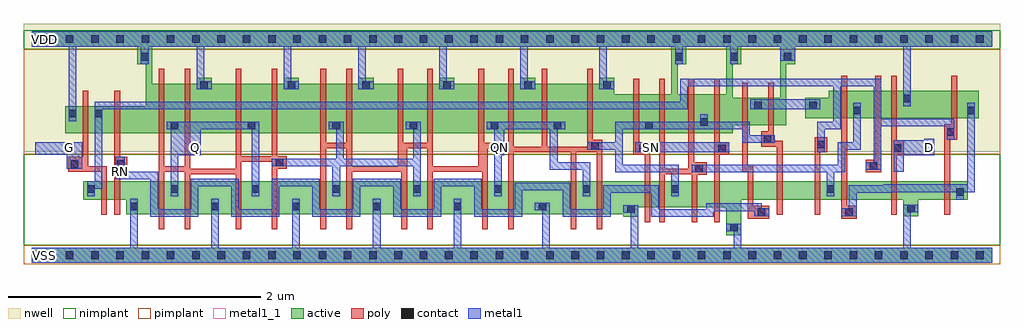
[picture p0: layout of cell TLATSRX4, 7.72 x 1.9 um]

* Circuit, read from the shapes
.subckt TLATSRX4 D G Q QN RN SN VDD VSS
M1 n1 G n2 VSS nfet w=0.145u l=0.045u
M2 VSS RN n1 VSS nfet w=0.145u l=0.045u
M3 Q n3 VSS VSS nfet w=0.26u l=0.045u m=4
M4 n3 n4 VSS VSS nfet w=0.26u l=0.045u m=4
M5 QN n4 VSS VSS nfet w=0.26u l=0.045u m=4
M6 n5 SN VSS VSS nfet w=0.205u l=0.045u
M7 n4 n6 n5 VSS nfet w=0.205u l=0.045u
M8 n7 n6 n4 VSS nfet w=0.205u l=0.045u
M9 VSS SN n7 VSS nfet w=0.205u l=0.045u
M10 n8 RN VSS VSS nfet w=0.145u l=0.045u
M11 n9 n4 n8 VSS nfet w=0.145u l=0.045u
M12 n6 n2 n9 VSS nfet w=0.145u l=0.045u
M13 n10 n11 n6 VSS nfet w=0.145u l=0.045u
M14 VSS D n10 VSS nfet w=0.145u l=0.045u
M15 n11 n2 VSS VSS nfet w=0.145u l=0.045u
M16 n2 G VDD VDD pfet w=0.215u l=0.045u
M17 VDD RN n2 VDD pfet w=0.215u l=0.045u
M18 Q n3 VDD VDD pfet w=0.39u l=0.045u m=4
M19 n3 n4 VDD VDD pfet w=0.39u l=0.045u m=4
M20 QN n4 VDD VDD pfet w=0.39u l=0.045u m=4
M21 n4 SN VDD VDD pfet w=0.31u l=0.045u m=2
M22 VDD n6 n4 VDD pfet w=0.31u l=0.045u m=2
M23 n12 RN VDD VDD pfet w=0.215u l=0.045u
M24 VDD n4 n12 VDD pfet w=0.215u l=0.045u
M25 n6 n11 n12 VDD pfet w=0.215u l=0.045u
M26 n13 n2 n6 VDD pfet w=0.215u l=0.045u
M27 VDD D n13 VDD pfet w=0.215u l=0.045u
M28 n11 n2 VDD VDD pfet w=0.215u l=0.045u
.ends

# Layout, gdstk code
import gdstk
lib = gdstk.Library(unit=1e-6, precision=5e-10)
def R(c, l, rs):  # rectangles x0, y0, x1, y1
    for r in rs: c.add(gdstk.rectangle(r[:2], r[2:], *l))
def A(c, l, x, y, w, h, nx, ny, dx, dy):  # array of equal rectangles
    R(c, l, [(x+i*dx, y+j*dy, x+i*dx+w, y+j*dy+h) for i in range(nx) for j in range(ny)])
def P(c, l, *ps):  # polygons
    for p in ps: c.add(gdstk.Polygon(p, *l))
active = (1, 0)
nwell = (2, 0)
poly = (3, 0)
nimplant = (4, 0)
pimplant = (5, 0)
contact = (6, 0)
metal1 = (7, 0)
metal1_1 = (7, 1)

tlatsrx4 = lib.new_cell('TLATSRX4')
R(tlatsrx4, active, [(0,-0.06,7.6,0.06)])
P(tlatsrx4, active, [(0,1.77),(7.6,1.77),(7.6,1.65),(6.04,1.65),(6.04,1.51),(5.97,1.51),(5.97,1.03),(5.545,1.03),(5.545,0.965),(0.265,0.965),(0.265,1.18),(0.905,1.18),(0.905,1.51),(0.835,1.51),(0.835,1.65),(0.955,1.65),(0.955,1.355),(1.305,1.355),(1.305,1.405),(1.425,1.405),(1.425,1.355),(1.995,1.355),(1.995,1.405),(2.115,1.405),(2.115,1.355),(2.585,1.355),(2.585,1.405),(2.705,1.405),(2.705,1.355),(3.225,1.355),(3.225,1.405),(3.345,1.405),(3.345,1.355),(3.865,1.355),(3.865,1.405),(3.985,1.405),(3.985,1.355),(4.49,1.355),(4.49,1.405),(4.61,1.405),(4.61,1.275),(5.06,1.275),(5.06,1.65),(5.18,1.65),(5.18,1.51),(5.11,1.51),(5.11,1.275),(5.495,1.275),(5.495,1.65),(5.615,1.65),(5.615,1.51),(5.545,1.51),(5.545,1.245),(5.92,1.245),(5.92,1.65),(0,1.65)],
  [(6.305,1.3),(7.49,1.3),(7.49,1.085),(6.12,1.085),(6.12,1.245),(6.305,1.245)],
  [(0.41,0.585),(7.405,0.585),(7.405,0.44),(7.015,0.44),(7.015,0.31),(6.895,0.31),(6.895,0.44),(5.615,0.44),(5.615,0.16),(5.495,0.16),(5.495,0.38),(4.8,0.38),(4.8,0.305),(4.68,0.305),(4.68,0.325),(0.75,0.325),(0.75,0.44),(0.41,0.44)])
R(tlatsrx4, nwell, [(-0.06,0.82,7.66,1.83)])
P(tlatsrx4, poly, [(1.005,1.475),(1.05,1.475),(1.05,0.705),(1.21,0.705),(1.21,1.475),(1.255,1.475),(1.255,0.685),(1.615,0.685),(1.615,1.475),(1.66,1.475),(1.66,0.785),(1.9,0.785),(1.9,1.475),(1.945,1.475),(1.945,0.785),(2.02,0.785),(2.02,0.685),(1.945,0.685),(1.945,0.205),(1.9,0.205),(1.9,0.74),(1.66,0.74),(1.66,0.205),(1.615,0.205),(1.615,0.64),(1.255,0.64),(1.255,0.205),(1.21,0.205),(1.21,0.66),(1.05,0.66),(1.05,0.205),(1.005,0.205)],
  [(0.405,1.3),(0.45,1.3),(0.45,0.705),(0.595,0.705),(0.595,0.32),(0.55,0.32),(0.55,0.66),(0.29,0.66),(0.29,0.78),(0.405,0.78)],
  [(0.655,1.3),(0.7,1.3),(0.7,0.78),(0.755,0.78),(0.755,0.66),(0.7,0.66),(0.7,0.32),(0.655,0.32)],
  [(2.285,1.475),(2.33,1.475),(2.33,0.89),(2.49,0.89),(2.49,1.475),(2.535,1.475),(2.535,0.705),(2.895,0.705),(2.895,1.475),(2.94,1.475),(2.94,0.89),(3.13,0.89),(3.13,1.475),(3.175,1.475),(3.175,0.705),(3.535,0.705),(3.535,1.475),(3.58,1.475),(3.58,0.89),(3.77,0.89),(3.77,1.475),(3.815,1.475),(3.815,0.86),(4.035,0.86),(4.035,1.475),(4.08,1.475),(4.08,0.86),(4.395,0.86),(4.395,1.475),(4.44,1.475),(4.44,0.915),(4.515,0.915),(4.515,0.205),(4.47,0.205),(4.47,0.815),(4.31,0.815),(4.31,0.205),(4.265,0.205),(4.265,0.815),(3.815,0.815),(3.815,0.205),(3.77,0.205),(3.77,0.845),(3.61,0.845),(3.61,0.205),(3.565,0.205),(3.565,0.66),(3.175,0.66),(3.175,0.205),(3.13,0.205),(3.13,0.845),(2.97,0.845),(2.97,0.205),(2.925,0.205),(2.925,0.66),(2.535,0.66),(2.535,0.205),(2.49,0.205),(2.49,0.845),(2.33,0.845),(2.33,0.205),(2.285,0.205)],
  [(4.76,1.395),(4.805,1.395),(4.805,0.895),(4.895,0.895),(4.895,0.26),(4.85,0.26),(4.85,0.795),(4.76,0.795)],
  [(4.965,1.395),(5.01,1.395),(5.01,0.685),(5.195,0.685),(5.195,1.395),(5.24,1.395),(5.24,0.735),(5.34,0.735),(5.34,0.635),(5.265,0.635),(5.265,0.26),(5.22,0.26),(5.22,0.64),(5.01,0.64),(5.01,0.26),(4.965,0.26)],
  [(5.4,1.395),(5.445,1.395),(5.445,0.895),(5.52,0.895),(5.52,0.795),(5.445,0.795),(5.445,0.26),(5.4,0.26)],
  [(5.62,1.365),(5.665,1.365),(5.665,0.705),(5.71,0.705),(5.71,0.39),(5.835,0.39),(5.835,0.29),(5.665,0.29),(5.665,0.66),(5.62,0.66)],
  [(5.825,1.365),(5.87,1.365),(5.87,0.905),(5.94,0.905),(5.94,0.32),(5.895,0.32),(5.895,0.86),(5.77,0.86),(5.77,0.98),(5.825,0.98)],
  [(6.405,1.42),(6.45,1.42),(6.45,0.39),(6.525,0.39),(6.525,0.29),(6.405,0.29)],
  [(6.675,1.42),(6.72,1.42),(6.72,0.655),(6.6,0.655),(6.6,0.755),(6.675,0.755)],
  [(6.8,1.42),(6.845,1.42),(6.845,0.91),(6.9,0.91),(6.9,0.79),(6.845,0.79),(6.845,0.32),(6.8,0.32)],
  [(7.275,1.42),(7.32,1.42),(7.32,0.915),(7.265,0.915),(7.265,0.32),(7.22,0.32),(7.22,1.035),(7.275,1.035)],
  [(6.195,0.935),(6.295,0.935),(6.295,0.815),(6.24,0.815),(6.24,0.32),(6.195,0.32)])
R(tlatsrx4, nimplant, [(-0.06,0.08,7.66,0.8), (-0.06,1.63,7.66,1.78)])
R(tlatsrx4, pimplant, [(-0.06,-0.07,7.66,0.08), (-0.06,0.8,7.66,1.63)])
A(tlatsrx4, contact, 0.07, -0.03, 0.06, 0.06, 38, 2, 0.2, 1.71)
A(tlatsrx4, contact, 0.78, 0.355, 0.06, 0.06, 5, 1, 0.64, 0)
A(tlatsrx4, contact, 1.1, 0.495, 0.06, 0.06, 5, 1, 0.64, 0)
A(tlatsrx4, contact, 2.615, 1.315, 0.06, 0.06, 3, 1, 0.64, 0)
R(tlatsrx4, contact, [(5.525,0.19,5.585,0.25), (5.745,0.31,5.805,0.37), (6.435,0.31,6.495,0.37), (4.71,0.335,4.77,0.395), (6.925,0.34,6.985,0.4), (4.01,0.355,4.07,0.415), (7.315,0.47,7.375,0.53), (0.44,0.495,0.5,0.555), (4.36,0.495,4.42,0.555), (5.06,0.495,5.12,0.555), (6.29,0.495,6.35,0.555), (5.25,0.655,5.31,0.715), (6.63,0.675,6.69,0.735), (0.31,0.69,0.37,0.75), (0.675,0.69,0.735,0.75), (1.93,0.705,1.99,0.765), (4.805,0.815,4.865,0.875), (5.43,0.815,5.49,0.875), (6.82,0.82,6.88,0.88), (4.425,0.835,4.485,0.895), (6.215,0.845,6.275,0.905), (5.79,0.89,5.85,0.95), (7.24,0.945,7.3,1.005), (1.1,0.995,1.16,1.055), (1.71,0.995,1.77,1.055), (2.38,0.995,2.44,1.055), (2.99,0.995,3.05,1.055), (3.63,0.995,3.69,1.055), (4.13,0.995,4.19,1.055), (4.855,0.995,4.915,1.055), (5.29,1.025,5.35,1.085), (0.295,1.09,0.355,1.15), (0.5,1.09,0.56,1.15), (6.5,1.115,6.56,1.175), (7.4,1.115,7.46,1.175), (5.715,1.155,5.775,1.215), (6.15,1.155,6.21,1.215), (6.895,1.21,6.955,1.27), (1.335,1.315,1.395,1.375), (2.025,1.315,2.085,1.375), (4.52,1.315,4.58,1.375), (0.865,1.54,0.925,1.6), (5.09,1.54,5.15,1.6), (5.525,1.54,5.585,1.6), (5.95,1.54,6.01,1.6)])
R(tlatsrx4, metal1, [(4.775,0.815,5.52,0.895), (5.685,1.155,6.24,1.235)])
P(tlatsrx4, metal1, [(0,1.77),(7.6,1.77),(7.6,1.65),(6.955,1.65),(6.955,1.18),(6.895,1.18),(6.895,1.65),(6.04,1.65),(6.04,1.54),(5.92,1.54),(5.92,1.65),(5.585,1.65),(5.585,1.51),(5.525,1.51),(5.525,1.65),(5.15,1.65),(5.15,1.51),(5.09,1.51),(5.09,1.65),(4.55,1.65),(4.55,1.375),(4.61,1.375),(4.61,1.315),(4.49,1.315),(4.49,1.65),(3.925,1.65),(3.925,1.375),(3.985,1.375),(3.985,1.315),(3.865,1.315),(3.865,1.65),(3.285,1.65),(3.285,1.375),(3.345,1.375),(3.345,1.315),(3.225,1.315),(3.225,1.65),(2.645,1.65),(2.645,1.375),(2.705,1.375),(2.705,1.315),(2.585,1.315),(2.585,1.65),(2.055,1.65),(2.055,1.375),(2.115,1.375),(2.115,1.315),(1.995,1.315),(1.995,1.65),(1.365,1.65),(1.365,1.375),(1.425,1.375),(1.425,1.315),(1.305,1.315),(1.305,1.65),(0.925,1.65),(0.925,1.51),(0.865,1.51),(0.865,1.65),(0.355,1.65),(0.355,1.06),(0.295,1.06),(0.295,1.65),(0,1.65)],
  [(5.13,1.395),(6.72,1.395),(6.72,1.08),(7.3,1.08),(7.3,0.915),(7.24,0.915),(7.24,1.02),(6.72,1.02),(6.72,0.675),(6.6,0.675),(6.6,0.735),(6.66,0.735),(6.66,1.335),(6.4,1.335),(6.4,0.995),(6.275,0.995),(6.275,0.815),(6.215,0.815),(6.215,1.055),(6.34,1.055),(6.34,1.335),(5.19,1.335),(5.19,1.155),(0.56,1.155),(0.56,0.525),(0.5,0.525),(0.5,0.465),(0.44,0.465),(0.44,0.585),(0.5,0.585),(0.5,1.215),(5.13,1.215)],
  [(5.29,1.115),(5.35,1.115),(5.35,1.055),(5.68,1.055),(5.68,0.95),(5.88,0.95),(5.88,0.89),(5.62,0.89),(5.62,0.995),(4.675,0.995),(4.675,0.715),(5.12,0.715),(5.12,0.465),(5.06,0.465),(5.06,0.655),(4.615,0.655),(4.615,0.835),(4.395,0.835),(4.395,0.895),(4.615,0.895),(4.615,1.055),(5.29,1.055)],
  [(0.03,0.895),(0.4,0.895),(0.4,0.685),(0.28,0.685),(0.28,0.795),(0.03,0.795)],
  [(1.07,1.055),(1.8,1.055),(1.8,0.465),(1.74,0.465),(1.74,0.995),(1.34,0.995),(1.34,0.79),(1.16,0.79),(1.16,0.465),(1.1,0.465),(1.1,0.995),(1.07,0.995)],
  [(2.35,1.055),(2.47,1.055),(2.47,0.765),(3.02,0.765),(3.02,0.995),(2.96,0.995),(2.96,1.055),(3.08,1.055),(3.08,0.465),(3.02,0.465),(3.02,0.705),(2.44,0.705),(2.44,0.465),(2.38,0.465),(2.38,0.705),(1.9,0.705),(1.9,0.765),(2.41,0.765),(2.41,0.995),(2.35,0.995)],
  [(3.6,1.055),(4.22,1.055),(4.22,0.995),(4.16,0.995),(4.16,0.735),(4.42,0.735),(4.42,0.465),(4.36,0.465),(4.36,0.675),(4.1,0.675),(4.1,0.995),(3.74,0.995),(3.74,0.79),(3.72,0.79),(3.72,0.465),(3.66,0.465),(3.66,0.995),(3.6,0.995)],
  [(0.66,0.78),(0.735,0.78),(0.735,0.73),(0.74,0.73),(0.74,0.66),(1,0.66),(1,0.365),(1.26,0.365),(1.26,0.605),(1.64,0.605),(1.64,0.365),(1.9,0.365),(1.9,0.605),(2.28,0.605),(2.28,0.365),(2.54,0.365),(2.54,0.605),(2.92,0.605),(2.92,0.365),(3.18,0.365),(3.18,0.605),(3.56,0.605),(3.56,0.365),(3.82,0.365),(3.82,0.575),(4.26,0.575),(4.26,0.365),(4.52,0.365),(4.52,0.555),(4.96,0.555),(4.96,0.365),(5.335,0.365),(5.335,0.41),(5.775,0.41),(5.775,0.37),(5.835,0.37),(5.835,0.31),(5.715,0.31),(5.715,0.35),(5.395,0.35),(5.395,0.305),(4.9,0.305),(4.9,0.495),(4.58,0.495),(4.58,0.305),(4.2,0.305),(4.2,0.515),(3.88,0.515),(3.88,0.305),(3.5,0.305),(3.5,0.545),(3.24,0.545),(3.24,0.305),(2.86,0.305),(2.86,0.545),(2.6,0.545),(2.6,0.305),(2.22,0.305),(2.22,0.545),(1.96,0.545),(1.96,0.305),(1.58,0.305),(1.58,0.545),(1.32,0.545),(1.32,0.305),(0.94,0.305),(0.94,0.6),(0.66,0.6)],
  [(0.78,0.445),(0.84,0.445),(0.84,0.06),(1.42,0.06),(1.42,0.445),(1.48,0.445),(1.48,0.06),(2.06,0.06),(2.06,0.445),(2.12,0.445),(2.12,0.06),(2.7,0.06),(2.7,0.445),(2.76,0.445),(2.76,0.06),(3.34,0.06),(3.34,0.445),(3.4,0.445),(3.4,0.06),(4.04,0.06),(4.04,0.355),(3.98,0.355),(3.98,0.415),(4.1,0.415),(4.1,0.06),(4.74,0.06),(4.74,0.335),(4.68,0.335),(4.68,0.395),(4.8,0.395),(4.8,0.06),(5.555,0.06),(5.555,0.19),(5.495,0.19),(5.495,0.25),(5.615,0.25),(5.615,0.06),(6.895,0.06),(6.895,0.4),(7.015,0.4),(7.015,0.34),(6.955,0.34),(6.955,0.06),(7.6,0.06),(7.6,-0.06),(0,-0.06),(0,0.06),(0.78,0.06)],
  [(6.5,1.205),(6.56,1.205),(6.56,0.835),(6.435,0.835),(6.435,0.655),(6.35,0.655),(6.35,0.465),(6.29,0.465),(6.29,0.655),(5.22,0.655),(5.22,0.715),(6.375,0.715),(6.375,0.895),(6.5,0.895)],
  [(7.4,1.205),(7.46,1.205),(7.46,0.5),(7.375,0.5),(7.375,0.44),(7.315,0.44),(7.315,0.5),(6.795,0.5),(6.795,0.495),(6.525,0.495),(6.525,0.31),(6.405,0.31),(6.405,0.37),(6.465,0.37),(6.465,0.555),(6.735,0.555),(6.735,0.56),(7.4,0.56)],
  [(7.06,0.92),(7.14,0.92),(7.14,0.79),(6.9,0.79),(6.9,0.66),(6.82,0.66),(6.82,0.91),(7.06,0.91)])
R(tlatsrx4, metal1_1, [(0.06,-0.04,0.14,0.04), (0.66,0.625,0.74,0.705), (0.26,0.815,0.34,0.895), (1.26,0.815,1.34,0.895), (3.66,0.815,3.74,0.895), (4.86,0.815,4.94,0.895), (7.06,0.815,7.14,0.895), (0.06,1.67,0.14,1.75)])
tlatsrx4.add(gdstk.Label('QN', (3.7,0.855), layer=7, texttype=1))
tlatsrx4.add(gdstk.Label('SN', (4.9,0.855), layer=7, texttype=1))
tlatsrx4.add(gdstk.Label('RN', (0.7,0.665), layer=7, texttype=1))
tlatsrx4.add(gdstk.Label('G', (0.3,0.855), layer=7, texttype=1))
tlatsrx4.add(gdstk.Label('D', (7.1,0.855), layer=7, texttype=1))
tlatsrx4.add(gdstk.Label('Q', (1.3,0.855), layer=7, texttype=1))
tlatsrx4.add(gdstk.Label('VDD', (0.1,1.71), layer=7, texttype=1))
tlatsrx4.add(gdstk.Label('VSS', (0.1,0), layer=7, texttype=1))
tlatsrx4.add(gdstk.Label('TLATSRX4', (0,0), layer=63, texttype=0))

lib.write_gds('TLATSRX4.gds')
